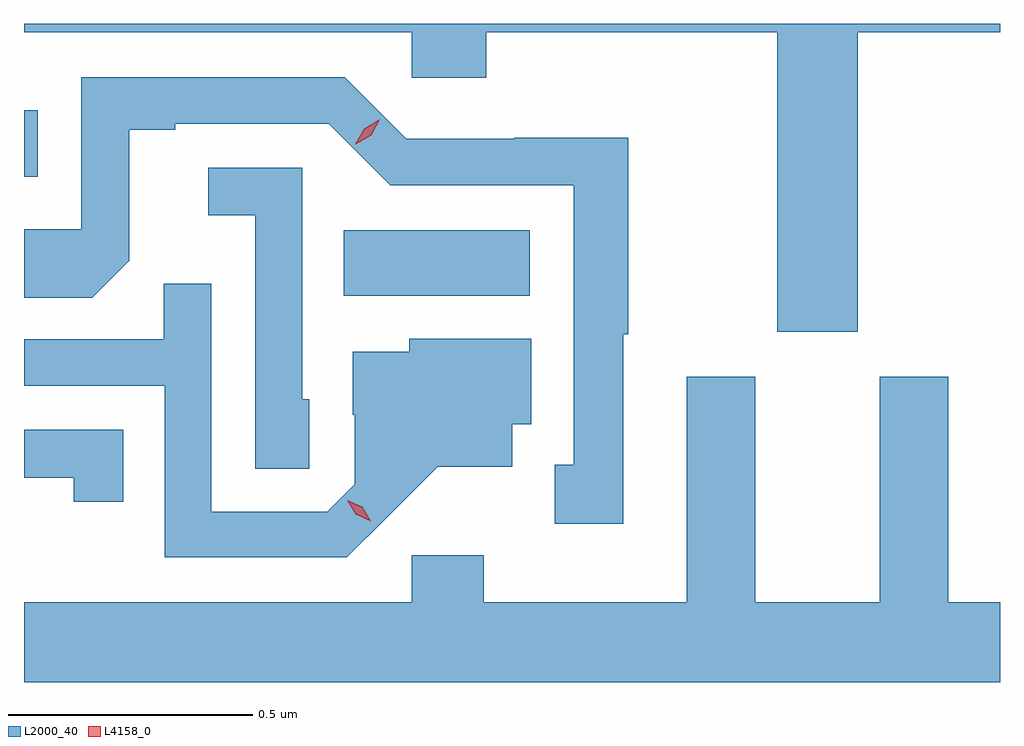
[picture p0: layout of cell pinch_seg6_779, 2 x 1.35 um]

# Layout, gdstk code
import gdstk
lib = gdstk.Library(unit=1e-6, precision=1e-09)
def R(c, l, rs):  # rectangles x0, y0, x1, y1
    for r in rs: c.add(gdstk.rectangle(r[:2], r[2:], *l))
def P(c, l, *ps):  # polygons
    for p in ps: c.add(gdstk.Polygon(p, *l))
L2000_40 = (2000, 40)
L4158_0 = (4158, 0)

pinch_seg6_779 = lib.new_cell('pinch_seg6_779')
R(pinch_seg6_779, L2000_40, [(595.132,949.46,595.513,949.594), (594.477,949.704,594.505,949.84)])
P(pinch_seg6_779, L2000_40, [(596.185,950),(596.477,950),(596.477,950.017),(594.477,950.017),(594.477,950),(595.272,950),(595.272,949.907),(595.424,949.907),(595.424,950),(596.021,950),(596.021,949.386),(596.185,949.386)],
  [(595.705,949.381),(595.715,949.381),(595.715,949.784),(595.482,949.784),(595.482,949.782),(595.26,949.782),(595.134,949.908),(594.594,949.908),(594.594,949.596),(594.477,949.596),(594.477,949.456),(594.617,949.456),(594.693,949.532),(594.693,949.8),(594.787,949.8),(594.787,949.812),(595.101,949.812),(595.227,949.686),(595.604,949.686),(595.604,949.113),(595.565,949.113),(595.565,948.993),(595.705,948.993)],
  [(595.062,949.248),(595.047,949.248),(595.047,949.722),(594.855,949.722),(594.855,949.625),(594.951,949.625),(594.951,949.105),(595.062,949.105)],
  [(595.222,949.007),(595.325,949.109),(595.477,949.109),(595.477,949.196),(595.516,949.196),(595.516,949.372),(595.266,949.372),(595.266,949.345),(595.151,949.345),(595.151,949.216),(595.155,949.216),(595.155,949.074),(595.098,949.017),(594.861,949.017),(594.861,949.484),(594.763,949.484),(594.763,949.371),(594.477,949.371),(594.477,949.275),(594.765,949.275),(594.765,948.924),(595.138,948.924)],
  [(595.272,948.928),(595.272,948.832),(594.477,948.832),(594.477,948.668),(596.477,948.668),(596.477,948.832),(596.371,948.832),(596.371,949.294),(596.231,949.294),(596.231,948.832),(595.975,948.832),(595.975,949.294),(595.835,949.294),(595.835,948.832),(595.419,948.832),(595.419,948.928)],
  [(594.68,949.185),(594.477,949.185),(594.477,949.087),(594.579,949.087),(594.579,949.038),(594.68,949.038)])
P(pinch_seg6_779, L4158_0, [(595.156,949.77),(595.156,949.77),(595.174,949.802),(595.206,949.821),(595.206,949.821),(595.206,949.821),(595.189,949.789),(595.157,949.77)],
  [(595.188,948.998),(595.157,949.012),(595.139,949.041),(595.139,949.041),(595.139,949.041),(595.17,949.027),(595.188,948.998),(595.188,948.998)])

lib.write_gds('pinch_seg6_779.gds')
